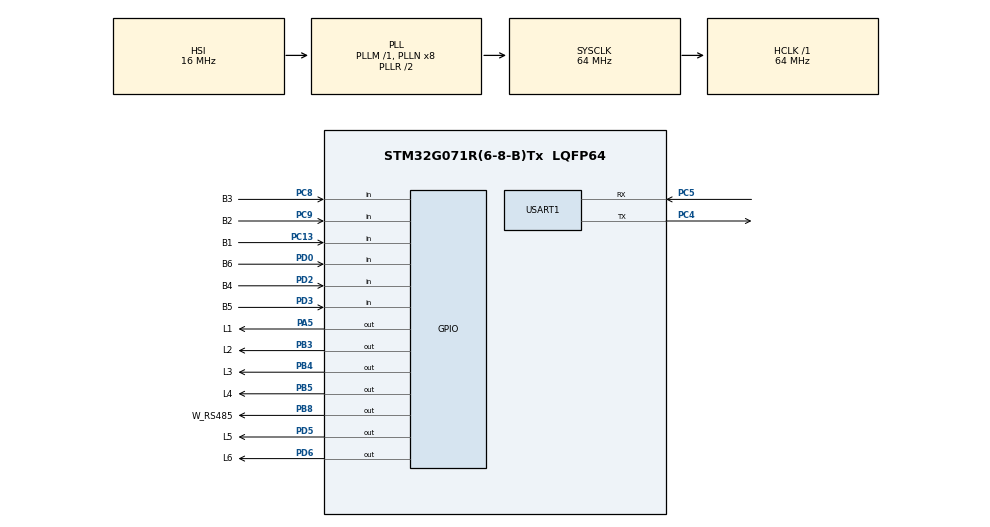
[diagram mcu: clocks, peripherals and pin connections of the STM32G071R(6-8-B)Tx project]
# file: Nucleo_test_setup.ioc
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Dma.Request0=USART1_RX
Dma.USART1_RX.0.Direction=DMA_PERIPH_TO_MEMORY
Dma.USART1_RX.0.EventEnable=DISABLE
Dma.USART1_RX.0.Instance=DMA1_Channel1
Dma.USART1_RX.0.MemDataAlignment=DMA_MDATAALIGN_BYTE
Dma.USART1_RX.0.MemInc=DMA_MINC_ENABLE
Dma.USART1_RX.0.Mode=DMA_NORMAL
Dma.USART1_RX.0.PeriphDataAlignment=DMA_PDATAALIGN_BYTE
Dma.USART1_RX.0.PeriphInc=DMA_PINC_DISABLE
Dma.USART1_RX.0.Polarity=HAL_DMAMUX_REQ_GEN_RISING
Dma.USART1_RX.0.Priority=DMA_PRIORITY_MEDIUM
Dma.USART1_RX.0.RequestNumber=1
Dma.USART1_RX.0.SignalID=NONE
Dma.USART1_RX.0.SyncEnable=DISABLE
Dma.USART1_RX.0.SyncPolarity=HAL_DMAMUX_SYNC_NO_EVENT
Dma.USART1_RX.0.SyncRequestNumber=1
Dma.USART1_RX.0.SyncSignalID=NONE
Mcu.Family=STM32G0
Mcu.Name=STM32G071R(6-8-B)Tx
Mcu.Package=LQFP64
NVIC.DMA1_Channel1_IRQn=true\:0\:0\:false\:false\:true\:false\:true\:true
NVIC.FLASH_IRQn=true\:0\:0\:false\:false\:true\:true\:true\:true
NVIC.TIM14_IRQn=true\:0\:0\:false\:false\:true\:true\:true\:true
NVIC.USART1_IRQn=true\:0\:0\:false\:false\:true\:true\:true\:true
PA13.GPIO_Label=TMS
PA13.Mode=Serial_Wire
PA13.Signal=SYS_SWDIO
PA14-BOOT0.GPIO_Label=TCK
PA14-BOOT0.Mode=Serial_Wire
PA14-BOOT0.Signal=SYS_SWCLK
PA3.GPIO_Label=USART2_RX [STLK_RX]
PA3.GPIO_PuPd=GPIO_PULLUP
PA3.Signal=USART2_RX
PA5.GPIO_Label=L1
PA5.GPIO_Speed=GPIO_SPEED_FREQ_HIGH
PA5.Signal=GPIO_Output
PB3.GPIO_Label=L2
PB3.Signal=GPIO_Output
PB4.GPIO_Label=L3
PB4.Signal=GPIO_Output
PB5.GPIO_Label=L4
PB5.Signal=GPIO_Output
PB8.GPIO_FM8=__NULL
PB8.GPIO_Label=W_RS485
PB8.Signal=GPIO_Output
PC13.GPIO_Label=B1
PC13.GPIO_PuPd=GPIO_PULLUP
PC13.Signal=GPIO_Input
PC4.Mode=Asynchronous
PC4.Signal=USART1_TX
PC5.Mode=Asynchronous
PC5.Signal=USART1_RX
PC8.GPIO_Label=B3
PC8.GPIO_PuPd=GPIO_PULLUP
PC8.Signal=GPIO_Input
PC9.GPIO_Label=B2
PC9.GPIO_PuPd=GPIO_PULLUP
PC9.Signal=GPIO_Input
PD0.GPIO_Label=B6
PD0.GPIO_PuPd=GPIO_PULLUP
PD0.Signal=GPIO_Input
PD2.GPIO_Label=B4
PD2.GPIO_PuPd=GPIO_PULLUP
PD2.Signal=GPIO_Input
PD3.GPIO_Label=B5
PD3.GPIO_PuPd=GPIO_PULLUP
PD3.Signal=GPIO_Input
PD5.GPIO_Label=L5
PD5.Signal=GPIO_Output
PD6.GPIO_Label=L6
PD6.Signal=GPIO_Output
ProjectManager.HeapSize=0x200
ProjectManager.StackSize=0x400
ProjectManager.TargetToolchain=STM32CubeIDE
RCC.ADCFreq_Value=64000000
RCC.AHBFreq_Value=64000000
RCC.CortexFreq_Value=64000000
RCC.EXTERNAL_CLOCK_VALUE=12288000
RCC.HCLKFreq_Value=64000000
RCC.HSE_VALUE=8000000
RCC.HSI_VALUE=16000000
RCC.LSE_VALUE=32768
RCC.SYSCLKFreq_VALUE=64000000
RCC.SYSCLKSource=RCC_SYSCLKSOURCE_PLLCLK
RCC.VCOOutputFreq_Value=128000000
TIM14.AutoReloadPreload=TIM_AUTORELOAD_PRELOAD_ENABLE
TIM14.Period=39999
TIM14.Prescaler=15
USART1.DMADisableonRxErrorParam=ADVFEATURE_DMA_DISABLEONRXERROR
USART1.VirtualMode-Asynchronous=VM_ASYNC
VP_SYS_VS_DBSignals.Mode=DisableDeadBatterySignals
VP_TIM14_VS_ClockSourceINT.Mode=Enable_Timer
board=NUCLEO-G071RB

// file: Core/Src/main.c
/* USER CODE BEGIN Header */
/**
  ******************************************************************************
  * @file           : main.c
  * @brief          : Main program body
  ******************************************************************************
  * @attention
  *
  * Copyright (c) 2022 STMicroelectronics.
  * All rights reserved.
  *
  * This software is licensed under terms that can be found in the LICENSE file
  * in the root directory of this software component.
  * If no LICENSE file comes with this software, it is provided AS-IS.
  *
  ******************************************************************************
  */
/* USER CODE END Header */
#include "main.h"

/* USER CODE BEGIN Includes */
#include <stdbool.h>
#include <stdint.h>

#include "timer.h"
#include "Flash/flash.h"

#include "Actions/actions.h"

#include "IO/inputs.h"
#include "IO/input_handler.h"

#include "IO/outputs.h"

#include "Modbus/modbus.h"
#include "Modbus/modbusm.h"
#include "Modbus/modbus_ascii.h"
#include "Modbus/modbus_rtu.h"
#include "Modbus/modbusm_handler.h"
/* USER CODE END Includes */

TIM_HandleTypeDef htim14;

UART_HandleTypeDef huart1;
DMA_HandleTypeDef hdma_usart1_rx;

void SystemClock_Config(void);
static void MX_GPIO_Init(void);
static void MX_DMA_Init(void);
static void MX_USART1_UART_Init(void);
static void MX_TIM14_Init(void);

/* USER CODE BEGIN 0 */
uint8_t MODBUS_ID;
//#define UPLOAD_NEW_MODBUS_ID
#ifdef UPLOAD_NEW_MODBUS_ID
  __attribute__((section(".modbus_id"))) const uint8_t new_id = 65;  // Logic ID, e.g., 1
#endif

uint8_t uart_rxBuffer[UART_BUFFER_SIZE] = { 0 };
uint8_t new_rxdata = 0;
uint16_t rxDataLen = 0;

/* USER CODE END 0 */

int main(void)
{

  /* MCU Configuration--------------------------------------------------------*/

  /* Reset of all peripherals, Initializes the Flash interface and the Systick. */
  HAL_Init();

  /* Configure the system clock */
  SystemClock_Config();

  /* Initialize all configured peripherals */
  MX_GPIO_Init();
  MX_DMA_Init();
  MX_USART1_UART_Init();
  MX_TIM14_Init();
  /* USER CODE BEGIN 2 */
  HAL_TIM_Base_Start_IT(&htim14);

  HAL_UARTEx_ReceiveToIdle_DMA(&huart1, uart_rxBuffer, UART_BUFFER_SIZE);
  __HAL_UART_ENABLE_IT(&huart1, UART_IT_IDLE);
  __HAL_DMA_DISABLE_IT(&hdma_usart1_rx, DMA_IT_HT);

  MODBUS_ID = *(uint8_t*)MODBUS_ID_ADDRESS;

  HAL_GPIO_WritePin(L6_GPIO_Port, L6_Pin, 0);
  HAL_GPIO_WritePin(L5_GPIO_Port, L5_Pin, 0);
  HAL_GPIO_WritePin(L4_GPIO_Port, L4_Pin, 0);
  HAL_GPIO_WritePin(L3_GPIO_Port, L3_Pin, 0);
  HAL_GPIO_WritePin(L2_GPIO_Port, L2_Pin, !0);
  HAL_GPIO_WritePin(L1_GPIO_Port, L1_Pin, !0);
//  HAL_IWDG_Refresh(&hiwdg);
  HAL_Delay(500);

  for (int i = 0; i < MODBUS_ID / 10; i++)
  {
//	  HAL_IWDG_Refresh(&hiwdg);
	  HAL_GPIO_WritePin(L1_GPIO_Port, L1_Pin, !1);
	  HAL_Delay(250);
	  HAL_GPIO_WritePin(L1_GPIO_Port, L1_Pin, !0);
	  HAL_Delay(150);
  }

//  HAL_IWDG_Refresh(&hiwdg);
  HAL_Delay(250);

  for (int i = 0; i < MODBUS_ID % 10; i++)
  {
//	  HAL_IWDG_Refresh(&hiwdg);
	  HAL_GPIO_WritePin(L1_GPIO_Port, L1_Pin, !1);
	  HAL_Delay(250);
	  HAL_GPIO_WritePin(L1_GPIO_Port, L1_Pin, !0);
	  HAL_Delay(150);
  }

  uint32_t timer_blink = TIMER_SET();
  HAL_GPIO_WritePin(W_RS485_GPIO_Port, W_RS485_Pin, 0); //Set RS485 in read mode

//  inputActions[0].singlePress.id = (MODBUS_ID == 64 ? 65 : 64);
//  inputActions[1].singlePress.id = (MODBUS_ID == 64 ? 65 : 64);
//  inputActions[2].singlePress.id = (MODBUS_ID == 64 ? 65 : 64);
//  inputActions[3].singlePress.id = (MODBUS_ID == 64 ? 65 : 64);
//  inputActions[4].singlePress.id = (MODBUS_ID == 64 ? 65 : 64);
//  inputActions[5].singlePress.id = (MODBUS_ID == 64 ? 65 : 64);
//
//  Flash_Erase(USERDATA_ORIGIN, USERDATA_LENGTH);
//  Flash_WriteInputActions(inputActions);
//  Flash_WriteInputs(inputs);
//  Flash_WriteExtraActions(extraActions);
//  Flash_WriteOutputs(outputs);

  Flash_ReadInputActions(inputActions);
  Flash_ReadInputs(inputs);
  Flash_ReadExtraActions(extraActions);
  Flash_ReadOutputs(outputs);
  /* USER CODE END 2 */

  /* Infinite loop */
  /* USER CODE BEGIN WHILE */
  HAL_Delay(250);

  while (1)
  {
	//feed the dog
	//HAL_IWDG_Refresh(&hiwdg); //256ms 32 * (32000khz/256=8ms)

    //call every 10ms
    //GLOBAL_TIMER_TICK(); -> interrupt (done in stm32g0xxit.c)

    if (TIMER_ELAPSED_MS(timer_blink, 1000)) {
      timer_blink = TIMER_SET();
      //outputs[0].param.value = !outputs[0].param.value;
      //HAL_Delay(250);
    }

    //uart IT superviser
    //needed?

    //read inputs
    update_inputs();

    //input handler
    input_handler();

    //prep registers
    modbus_get_outputs();

    //modbus RS485
    //nucleo pins
    //TX = PC4
    //RX = PC5
    modbus();

    //Parse single output
    modbus_set_outputs();

    modbus_parse_register(); // always after set. this write outputs directly
    modbus_parse_action_update();

    //write outputs
    update_outputs();
    /* USER CODE END WHILE */

  }
}

void SystemClock_Config(void)
{
  RCC_OscInitTypeDef RCC_OscInitStruct = {0};
  RCC_ClkInitTypeDef RCC_ClkInitStruct = {0};

  /** Configure the main internal regulator output voltage
  */
  HAL_PWREx_ControlVoltageScaling(PWR_REGULATOR_VOLTAGE_SCALE1);

  /** Initializes the RCC Oscillators according to the specified parameters
  * in the RCC_OscInitTypeDef structure.
  */
  RCC_OscInitStruct.OscillatorType = RCC_OSCILLATORTYPE_HSI;
  RCC_OscInitStruct.HSIState = RCC_HSI_ON;
  RCC_OscInitStruct.HSIDiv = RCC_HSI_DIV1;
  RCC_OscInitStruct.HSICalibrationValue = RCC_HSICALIBRATION_DEFAULT;
  RCC_OscInitStruct.PLL.PLLState = RCC_PLL_ON;
  RCC_OscInitStruct.PLL.PLLSource = RCC_PLLSOURCE_HSI;
  RCC_OscInitStruct.PLL.PLLM = RCC_PLLM_DIV1;
  RCC_OscInitStruct.PLL.PLLN = 8;
  RCC_OscInitStruct.PLL.PLLP = RCC_PLLP_DIV2;
  RCC_OscInitStruct.PLL.PLLQ = RCC_PLLQ_DIV2;
  RCC_OscInitStruct.PLL.PLLR = RCC_PLLR_DIV2;
  if (HAL_RCC_OscConfig(&RCC_OscInitStruct) != HAL_OK)
  {
    Error_Handler();
  }

  /** Initializes the CPU, AHB and APB buses clocks
  */
  RCC_ClkInitStruct.ClockType = RCC_CLOCKTYPE_HCLK|RCC_CLOCKTYPE_SYSCLK
                              |RCC_CLOCKTYPE_PCLK1;
  RCC_ClkInitStruct.SYSCLKSource = RCC_SYSCLKSOURCE_PLLCLK;
  RCC_ClkInitStruct.AHBCLKDivider = RCC_SYSCLK_DIV1;
  RCC_ClkInitStruct.APB1CLKDivider = RCC_HCLK_DIV1;

  if (HAL_RCC_ClockConfig(&RCC_ClkInitStruct, FLASH_LATENCY_2) != HAL_OK)
  {
    Error_Handler();
  }
}

static void MX_TIM14_Init(void)
{

  htim14.Instance = TIM14;
  htim14.Init.Prescaler = 15;
  htim14.Init.CounterMode = TIM_COUNTERMODE_UP;
  htim14.Init.Period = 39999;
  htim14.Init.ClockDivision = TIM_CLOCKDIVISION_DIV1;
  htim14.Init.AutoReloadPreload = TIM_AUTORELOAD_PRELOAD_ENABLE;
  if (HAL_TIM_Base_Init(&htim14) != HAL_OK)
  {
    Error_Handler();
  }

}

static void MX_USART1_UART_Init(void)
{

  huart1.Instance = USART1;
  huart1.Init.BaudRate = 115200;
  huart1.Init.WordLength = UART_WORDLENGTH_8B;
  huart1.Init.StopBits = UART_STOPBITS_1;
  huart1.Init.Parity = UART_PARITY_NONE;
  huart1.Init.Mode = UART_MODE_TX_RX;
  huart1.Init.HwFlowCtl = UART_HWCONTROL_NONE;
  huart1.Init.OverSampling = UART_OVERSAMPLING_16;
  huart1.Init.OneBitSampling = UART_ONE_BIT_SAMPLE_DISABLE;
  huart1.Init.ClockPrescaler = UART_PRESCALER_DIV1;
  huart1.AdvancedInit.AdvFeatureInit = UART_ADVFEATURE_DMADISABLEONERROR_INIT;
  huart1.AdvancedInit.DMADisableonRxError = UART_ADVFEATURE_DMA_DISABLEONRXERROR;
  if (HAL_UART_Init(&huart1) != HAL_OK)
  {
    Error_Handler();
  }
  if (HAL_UARTEx_SetTxFifoThreshold(&huart1, UART_TXFIFO_THRESHOLD_1_8) != HAL_OK)
  {
    Error_Handler();
  }
  if (HAL_UARTEx_SetRxFifoThreshold(&huart1, UART_RXFIFO_THRESHOLD_1_8) != HAL_OK)
  {
    Error_Handler();
  }
  if (HAL_UARTEx_DisableFifoMode(&huart1) != HAL_OK)
  {
    Error_Handler();
  }

}

static void MX_DMA_Init(void)
{

  /* DMA controller clock enable */
  __HAL_RCC_DMA1_CLK_ENABLE();

  /* DMA interrupt init */
  /* DMA1_Channel1_IRQn interrupt configuration */
  HAL_NVIC_SetPriority(DMA1_Channel1_IRQn, 0, 0);
  HAL_NVIC_EnableIRQ(DMA1_Channel1_IRQn);

}

static void MX_GPIO_Init(void)
{
  GPIO_InitTypeDef GPIO_InitStruct = {0};

  /* GPIO Ports Clock Enable */
  __HAL_RCC_GPIOC_CLK_ENABLE();
  __HAL_RCC_GPIOA_CLK_ENABLE();
  __HAL_RCC_GPIOD_CLK_ENABLE();
  __HAL_RCC_GPIOB_CLK_ENABLE();

  /*Configure GPIO pin Output Level */
  HAL_GPIO_WritePin(L1_GPIO_Port, L1_Pin, GPIO_PIN_RESET);

  /*Configure GPIO pin Output Level */
  HAL_GPIO_WritePin(GPIOD, L5_Pin|L6_Pin, GPIO_PIN_RESET);

  /*Configure GPIO pin Output Level */
  HAL_GPIO_WritePin(GPIOB, L2_Pin|L3_Pin|L4_Pin|W_RS485_Pin, GPIO_PIN_RESET);

  /*Configure GPIO pins : B1_Pin B3_Pin B2_Pin */
  GPIO_InitStruct.Pin = B1_Pin|B3_Pin|B2_Pin;
  GPIO_InitStruct.Mode = GPIO_MODE_INPUT;
  GPIO_InitStruct.Pull = GPIO_PULLUP;
  HAL_GPIO_Init(GPIOC, &GPIO_InitStruct);

  /*Configure GPIO pin : USART2_RX_Pin */
  GPIO_InitStruct.Pin = USART2_RX_Pin;
  GPIO_InitStruct.Mode = GPIO_MODE_AF_PP;
  GPIO_InitStruct.Pull = GPIO_PULLUP;
  GPIO_InitStruct.Speed = GPIO_SPEED_FREQ_LOW;
  GPIO_InitStruct.Alternate = GPIO_AF1_USART2;
  HAL_GPIO_Init(USART2_RX_GPIO_Port, &GPIO_InitStruct);

  /*Configure GPIO pin : L1_Pin */
  GPIO_InitStruct.Pin = L1_Pin;
  GPIO_InitStruct.Mode = GPIO_MODE_OUTPUT_PP;
  GPIO_InitStruct.Pull = GPIO_NOPULL;
  GPIO_InitStruct.Speed = GPIO_SPEED_FREQ_HIGH;
  HAL_GPIO_Init(L1_GPIO_Port, &GPIO_InitStruct);

  /*Configure GPIO pins : B6_Pin B4_Pin B5_Pin */
  GPIO_InitStruct.Pin = B6_Pin|B4_Pin|B5_Pin;
  GPIO_InitStruct.Mode = GPIO_MODE_INPUT;
  GPIO_InitStruct.Pull = GPIO_PULLUP;
  HAL_GPIO_Init(GPIOD, &GPIO_InitStruct);

  /*Configure GPIO pins : L5_Pin L6_Pin */
  GPIO_InitStruct.Pin = L5_Pin|L6_Pin;
  GPIO_InitStruct.Mode = GPIO_MODE_OUTPUT_PP;
  GPIO_InitStruct.Pull = GPIO_NOPULL;
  GPIO_InitStruct.Speed = GPIO_SPEED_FREQ_LOW;
  HAL_GPIO_Init(GPIOD, &GPIO_InitStruct);

  /*Configure GPIO pins : L2_Pin L3_Pin L4_Pin W_RS485_Pin */
  GPIO_InitStruct.Pin = L2_Pin|L3_Pin|L4_Pin|W_RS485_Pin;
  GPIO_InitStruct.Mode = GPIO_MODE_OUTPUT_PP;
  GPIO_InitStruct.Pull = GPIO_NOPULL;
  GPIO_InitStruct.Speed = GPIO_SPEED_FREQ_LOW;
  HAL_GPIO_Init(GPIOB, &GPIO_InitStruct);

}

/* USER CODE BEGIN 4 */
void HAL_UARTEx_RxEventCallback(UART_HandleTypeDef *huart, uint16_t size)
{
	if (huart->Instance == USART1)
	{
		__HAL_UART_CLEAR_IDLEFLAG(huart);
		uint8_t overflow = 0;
		if (size >= UART_BUFFER_SIZE) // Check if buffer might be full
		{
			// Wait for idle line to ensure complete reception
			while (__HAL_UART_GET_FLAG(huart, UART_FLAG_IDLE) == RESET) {}

			// Check for overflow condition
			if (__HAL_UART_GET_FLAG(huart, UART_FLAG_ORE) != RESET)
			{
				overflow = 1;
				__HAL_UART_CLEAR_OREFLAG(huart); // Clear overflow flag
				//HAL_UART_Transmit(huart, (uint8_t *)"\n\rError: overflow of the receive buffer\n\r", 41, 100);
			}
		}

		if (!overflow)
		{
			rxDataLen = size;
			new_rxdata = 1;
		} else {
			HAL_UARTEx_ReceiveToIdle_DMA(&huart1, uart_rxBuffer, UART_BUFFER_SIZE);
			__HAL_DMA_DISABLE_IT(&hdma_usart1_rx, DMA_IT_HT); // Disable half-transfer interrupt if not needed
			//clear buffer (needed after overflow)
			memset(uart_rxBuffer, 0, UART_BUFFER_SIZE);
			rxDataLen = 0;
		}
	}
}

void HAL_UART_ErrorCallback(UART_HandleTypeDef *huart)
{
	if (huart->Instance == USART1)
	{
		__HAL_UART_CLEAR_FLAG(huart, UART_CLEAR_PEF | UART_CLEAR_FEF | UART_CLEAR_NEF | UART_CLEAR_OREF);
		HAL_UART_Abort_IT(huart);
		HAL_UART_DeInit(huart);
		HAL_UART_Init(huart);

		HAL_UARTEx_ReceiveToIdle_DMA(&huart1, uart_rxBuffer, UART_BUFFER_SIZE);
		__HAL_DMA_DISABLE_IT(&hdma_usart1_rx, DMA_IT_HT); // Disable half-transfer interrupt if not needed
	}
}

//void HAL_UART_RxCpltCallback(UART_HandleTypeDef* huart)
//{
//  timer_lastbyte = TIMER_SET();						     //reset timer (time passed since last recieved byte)
//  new_uartstream = true;								 //indicate new message
//  received_buffer[uart_index++] = uart_received_byte;    //copy received byte and shift index
//
//  if (uart_index >= RECEIVE_BUFFER_SIZE) {
//    new_uartstream = false;
//    uart_index = 0;
//    memset(received_buffer, 0, sizeof(received_buffer));
//  }
//  HAL_UART_Receive_IT(&huart1, &uart_received_byte, 1); //Set new interrupt
//}
//void HAL_UART_RxCpltCallback(UART_HandleTypeDef* huart)
//{
//  timer_lastbyte = TIMER_SET();						     //reset timer (time passed since last recieved byte)
//  new_uartstream = true;								 //indicate new message
//  received_buffer[uart_index++] = uart_received_byte;    //copy received byte and shift index
//
//  if (uart_index >= RECEIVE_BUFFER_SIZE) {
//    new_uartstream = false;
//    uart_index = 0;
//    memset(received_buffer, 0, sizeof(received_buffer));
//  }
//  HAL_UART_Receive_IT(&huart1, &uart_received_byte, 1); //Set new interrupt
//}
/* USER CODE END 4 */

void Error_Handler(void)
{
  __disable_irq();
  while (1)
  {
  }
}
